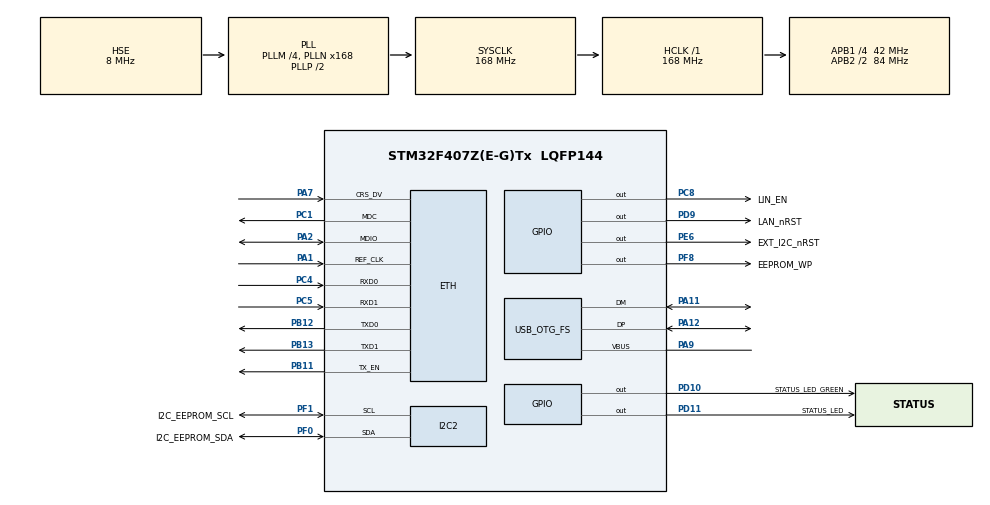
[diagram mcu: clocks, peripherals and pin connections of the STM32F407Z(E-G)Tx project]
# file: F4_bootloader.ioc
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ETH.MACAddr=00\:80\:E1\:01\:23\:45
ETH.MediaInterface=HAL_ETH_RMII_MODE
FREERTOS.BinarySemaphores01=InitDoneSemaphore,Static,InitDoneSemaphoreControlBlock,Available
FREERTOS.INCLUDE_eTaskGetState=1
FREERTOS.INCLUDE_pcTaskGetTaskName=1
FREERTOS.INCLUDE_uxTaskGetStackHighWaterMark=1
FREERTOS.INCLUDE_uxTaskGetStackHighWaterMark2=1
FREERTOS.INCLUDE_vTaskCleanUpResources=1
FREERTOS.INCLUDE_vTaskDelayUntil=1
FREERTOS.INCLUDE_xQueueGetMutexHolder=1
FREERTOS.INCLUDE_xSemaphoreGetMutexHolder=1
FREERTOS.INCLUDE_xTaskAbortDelay=1
FREERTOS.INCLUDE_xTaskGetCurrentTaskHandle=1
FREERTOS.INCLUDE_xTaskGetHandle=1
FREERTOS.MEMORY_ALLOCATION=2
FREERTOS.Tasks01=defaultTask,0,256,StartDefaultTask,Default,NULL,Static,defaultTaskBuffer,defaultTaskControlBlock;blinkTask,-1,128,blinkTaskEntry,Default,NULL,Static,blinkTaskBuffer,blinkTaskControlBlock;watchdogTask,-1,128,watchDogReset,Default,NULL,Static,watchdogTaskBuffer,watchdogTaskControlBlock;TcpServerTask,0,256,TcpServerTaskStart,Default,NULL,Static,TcpServerTaskBuffer,TcpServerTaskControlBlock;UsbTask,0,256,UsbTaskStart,Default,NULL,Static,UsbTaskBuffer,UsbTaskControlBlock;CommParserTask,0,700,CommParserTaskStart,Default,NULL,Static,CommParserTaskBuffer,CommParserTaskControlBlock
FREERTOS.configENABLE_FPU=1
FREERTOS.configMINIMAL_STACK_SIZE=128
FREERTOS.configTOTAL_HEAP_SIZE=12000
FREERTOS.configUSE_NEWLIB_REENTRANT=1
IWDG.Prescaler=IWDG_PRESCALER_128
IWDG.Reload=2500
LWIP.BSP.number=1
LWIP.CMSIS_VERSION-Enabled=1
LWIP.GATEWAY_ADDRESS=192.168.000.001
LWIP.IP_ADDRESS=192.168.000.035
LWIP.LWIP_DHCP=0
LWIP.NETMASK_ADDRESS=255.255.255.000
LWIP.Version=v2.1.2_Cube
LWIP0.BSP.STBoard=false
LWIP0.BSP.api=BSP_COMPONENT_DRIVER
LWIP0.BSP.component=DP83848
LWIP0.BSP.instance=DP83848
LWIP0.BSP.name=Driver_PHY
LWIP0.BSP.semaphore=S_DP83848
LWIP0.BSP.solution=DP83848
Mcu.Family=STM32F4
Mcu.Name=STM32F407Z(E-G)Tx
Mcu.Package=LQFP144
NVIC.ETH_IRQn=true\:5\:0\:false\:false\:true\:true\:true\:true\:true
NVIC.OTG_FS_IRQn=true\:5\:0\:false\:false\:true\:true\:false\:true\:true
NVIC.PriorityGroup=NVIC_PRIORITYGROUP_4
NVIC.TIM1_TRG_COM_TIM11_IRQn=true\:5\:0\:false\:false\:true\:true\:true\:true\:true
NVIC.TIM7_IRQn=true\:5\:0\:false\:false\:true\:true\:true\:true\:true
NVIC.TIM8_TRG_COM_TIM14_IRQn=true\:15\:0\:false\:false\:true\:false\:false\:true\:true
NVIC.TimeBase=TIM8_TRG_COM_TIM14_IRQn
NVIC.TimeBaseIP=TIM14
PA1.Mode=RMII
PA1.Signal=ETH_REF_CLK
PA11.Mode=Device_Only
PA11.Signal=USB_OTG_FS_DM
PA12.Mode=Device_Only
PA12.Signal=USB_OTG_FS_DP
PA13.Mode=Trace_Asynchronous_SW
PA13.Signal=SYS_JTMS-SWDIO
PA14.Mode=Trace_Asynchronous_SW
PA14.Signal=SYS_JTCK-SWCLK
PA2.Mode=RMII
PA2.Signal=ETH_MDIO
PA7.Mode=RMII
PA7.Signal=ETH_CRS_DV
PA9.Mode=Activate_VBUS
PA9.Signal=USB_OTG_FS_VBUS
PB11.Mode=RMII
PB11.Signal=ETH_TX_EN
PB12.Mode=RMII
PB12.Signal=ETH_TXD0
PB13.Mode=RMII
PB13.Signal=ETH_TXD1
PB3.Mode=Trace_Asynchronous_SW
PB3.Signal=SYS_JTDO-SWO
PC1.Mode=RMII
PC1.Signal=ETH_MDC
PC4.Mode=RMII
PC4.Signal=ETH_RXD0
PC5.Mode=RMII
PC5.Signal=ETH_RXD1
PC8.GPIO_Label=LIN_EN
PC8.Signal=GPIO_Output
PD10.GPIO_Label=STATUS_LED_GREEN
PD10.Signal=GPIO_Output
PD11.GPIO_Label=STATUS_LED
PD11.Signal=GPIO_Output
PD9.GPIO_Label=LAN_nRST
PD9.Signal=GPIO_Output
PE6.GPIO_Label=EXT_I2C_nRST
PE6.Signal=GPIO_Output
PF0.GPIO_Label=I2C_EEPROM_SDA
PF0.GPIO_Pu=GPIO_PULLUP
PF0.Mode=I2C
PF0.Signal=I2C2_SDA
PF1.GPIO_Label=I2C_EEPROM_SCL
PF1.GPIO_Pu=GPIO_PULLUP
PF1.Mode=I2C
PF1.Signal=I2C2_SCL
PF8.GPIO_Label=EEPROM_WP
PF8.Signal=GPIO_Output
PH0-OSC_IN.Mode=HSE-External-Oscillator
PH0-OSC_IN.Signal=RCC_OSC_IN
PH1-OSC_OUT.Mode=HSE-External-Oscillator
PH1-OSC_OUT.Signal=RCC_OSC_OUT
ProjectManager.HeapSize=0x600
ProjectManager.StackSize=0x800
ProjectManager.TargetToolchain=CMake
RCC.48MHZClocksFreq_Value=48000000
RCC.AHBFreq_Value=168000000
RCC.APB1CLKDivider=RCC_HCLK_DIV4
RCC.APB1Freq_Value=42000000
RCC.APB1TimFreq_Value=84000000
RCC.APB2CLKDivider=RCC_HCLK_DIV2
RCC.APB2Freq_Value=84000000
RCC.APB2TimFreq_Value=168000000
RCC.CortexFreq_Value=168000000
RCC.HCLKFreq_Value=168000000
RCC.HSE_VALUE=8000000
RCC.HSI_VALUE=16000000
RCC.LSE_VALUE=32768
RCC.PLLM=4
RCC.PLLN=168
RCC.PLLQ=7
RCC.RCC_RTC_Clock_Source=RCC_RTCCLKSOURCE_LSE
RCC.RCC_RTC_Clock_SourceVirtual=RCC_RTCCLKSOURCE_LSE
RCC.RCC_RTC_Clock_Source_FROM_HSE=RCC_RTCCLKSOURCE_HSE_DIV9
RCC.SYSCLKFreq_VALUE=168000000
RCC.SYSCLKSource=RCC_SYSCLKSOURCE_PLLCLK
RCC.VCOOutputFreq_Value=336000000
TIM11.AutoReloadPreload=TIM_AUTORELOAD_PRELOAD_ENABLE
TIM11.Period=420-1
TIM7.AutoReloadPreload=TIM_AUTORELOAD_PRELOAD_ENABLE
TIM7.Period=168-1
USB_DEVICE.CLASS_NAME_FS=CDC
USB_DEVICE.MANUFACTURER_STRING-CDC_FS=RAFIONTECH s.r.o.
USB_DEVICE.PRODUCT_STRING_CDC_FS=RAFION E000010 BOOTLOADER
USB_DEVICE.VirtualMode-CDC_FS=Cdc
USB_DEVICE.VirtualModeFS=Cdc_FS
USB_OTG_FS.VirtualMode=Device_Only
VP_CRC_VS_CRC.Mode=CRC_Activate
VP_FREERTOS_VS_CMSIS_V1.Mode=CMSIS_V1
VP_IWDG_VS_IWDG.Mode=IWDG_Activate
VP_LWIP_VS_Enabled.Mode=Enabled
VP_SYS_VS_tim14.Mode=TIM14
VP_TIM11_VS_ClockSourceINT.Mode=Enable_Timer
VP_TIM7_VS_ClockSourceINT.Mode=Enable_Timer
VP_USB_DEVICE_VS_USB_DEVICE_CDC_FS.Mode=CDC_FS
board=custom

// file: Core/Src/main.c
/* USER CODE BEGIN Header */
/**
  ******************************************************************************
  * @file           : main.c
  * @brief          : Main program body
  ******************************************************************************
  * @attention
  *
  * Copyright (c) 2023 STMicroelectronics.
  * All rights reserved.
  *
  * This software is licensed under terms that can be found in the LICENSE file
  * in the root directory of this software component.
  * If no LICENSE file comes with this software, it is provided AS-IS.
  *
  ******************************************************************************
  */
/* USER CODE END Header */
#include "main.h"
#include "cmsis_os.h"
#include "lwip.h"
#include "usb_device.h"

/* USER CODE BEGIN Includes */
#include "usbd_cdc_if.h"
#include "stdio.h"
#include "task.h"
#include "semphr.h"
#include "tcpserver.h"
#include "globals.h"
#include "UsbMessageHanler.h"
#include "commandParser.h"
#include "lfs.h"
/* USER CODE END Includes */

/* USER CODE BEGIN PM */
HAL_StatusTypeDef status;
uint32_t Reg_Val;
/* USER CODE END PM */

CRC_HandleTypeDef hcrc;

I2C_HandleTypeDef hi2c2;

IWDG_HandleTypeDef hiwdg;

TIM_HandleTypeDef htim7;
TIM_HandleTypeDef htim11;

osThreadId defaultTaskHandle;
uint32_t defaultTaskBuffer[ 256 ];
osStaticThreadDef_t defaultTaskControlBlock;
osThreadId blinkTaskHandle;
uint32_t blinkTaskBuffer[ 128 ];
osStaticThreadDef_t blinkTaskControlBlock;
osThreadId watchdogTaskHandle;
uint32_t watchdogTaskBuffer[ 128 ];
osStaticThreadDef_t watchdogTaskControlBlock;
osThreadId TcpServerTaskHandle;
uint32_t TcpServerTaskBuffer[ 256 ];
osStaticThreadDef_t TcpServerTaskControlBlock;
osThreadId UsbTaskHandle;
uint32_t UsbTaskBuffer[ 256 ];
osStaticThreadDef_t UsbTaskControlBlock;
osThreadId CommParserTaskHandle;
uint32_t CommParserTaskBuffer[ 700 ];
osStaticThreadDef_t CommParserTaskControlBlock;
osSemaphoreId InitDoneSemaphoreHandle;
osStaticSemaphoreDef_t InitDoneSemaphoreControlBlock;
/* USER CODE BEGIN PV */
osMutexId take_measurement_mutex;
osMutexId isBusyWithSendingResponse_mutex;
/* USER CODE END PV */

void SystemClock_Config(void);
static void MX_GPIO_Init(void);
static void MX_I2C2_Init(void);
static void MX_TIM11_Init(void);
static void MX_IWDG_Init(void);
static void MX_TIM7_Init(void);
static void MX_CRC_Init(void);
void StartDefaultTask(void const * argument);
void blinkTaskEntry(void const * argument);
void watchDogReset(void const * argument);
void TcpServerTaskStart(void const * argument);
void UsbTaskStart(void const * argument);
void CommParserTaskStart(void const * argument);

/* USER CODE BEGIN PFP */
//Redriect printf to USB CDC
int _write(int file, char *ptr, int len)
{
  CDC_Transmit_FS((uint8_t*)ptr, len);
  return len;
}

/* USER CODE END PFP */

/* USER CODE BEGIN 0 */
volatile const char *g_fault_reason = NULL;
volatile const char *g_fault_task_name = NULL;
volatile uint32_t g_fault_stack_r0 = 0;
volatile uint32_t g_fault_stack_r1 = 0;
volatile uint32_t g_fault_stack_r2 = 0;
volatile uint32_t g_fault_stack_r3 = 0;
volatile uint32_t g_fault_stack_r12 = 0;
volatile uint32_t g_fault_stack_lr = 0;
volatile uint32_t g_fault_stack_pc = 0;
volatile uint32_t g_fault_stack_psr = 0;
volatile uint32_t g_fault_sp = 0;
volatile uint32_t g_fault_exc_return = 0;
volatile uint32_t g_fault_cfsr = 0;
volatile uint32_t g_fault_hfsr = 0;
volatile uint32_t g_fault_dfsr = 0;
volatile uint32_t g_fault_afsr = 0;
volatile uint32_t g_fault_bfar = 0;
volatile uint32_t g_fault_mmfar = 0;

static void DebugTrap(const char *reason, const char *task_name)
{
  g_fault_reason = reason;
  g_fault_task_name = task_name;
  __disable_irq();
  __BKPT(0);
  while (1)
  {
  }
}

/* USER CODE END 0 */

int main(void)
{

  /* MCU Configuration--------------------------------------------------------*/

  /* Reset of all peripherals, Initializes the Flash interface and the Systick. */
  HAL_Init();

  /* USER CODE BEGIN Init */
  __enable_irq();

  SCB->SHCSR |= SCB_SHCSR_MEMFAULTENA_Msk |
                SCB_SHCSR_BUSFAULTENA_Msk |
                SCB_SHCSR_USGFAULTENA_Msk;
  SCB->CCR |= SCB_CCR_DIV_0_TRP_Msk;

  /* USER CODE END Init */

  /* Configure the system clock */
  SystemClock_Config();

  /* Initialize all configured peripherals */
  MX_GPIO_Init();
  MX_I2C2_Init();
  MX_TIM11_Init();
  MX_IWDG_Init();
  MX_TIM7_Init();
  MX_CRC_Init();
  /* USER CODE BEGIN 2 */
  HAL_GPIO_WritePin(STATUS_LED_GREEN_GPIO_Port,STATUS_LED_GREEN_Pin, GPIO_PIN_SET);
  HAL_TIM_Base_Start_IT(&htim11);
  HAL_TIM_Base_Start_IT(&htim7);
  HAL_GPIO_WritePin(LAN_nRST_GPIO_Port,LAN_nRST_Pin, GPIO_PIN_SET);
  HAL_Delay(100);

  /* USER CODE END 2 */

  /* USER CODE BEGIN RTOS_MUTEX */
  /* add mutexes, ... */
  commandTemplateMutex = xSemaphoreCreateMutex();
  if (commandTemplateMutex == NULL)
  {
    Error_Handler();
  }

  /* USER CODE END RTOS_MUTEX */

  /* Create the semaphores(s) */
  /* definition and creation of InitDoneSemaphore */
  osSemaphoreStaticDef(InitDoneSemaphore, &InitDoneSemaphoreControlBlock);
  InitDoneSemaphoreHandle = osSemaphoreCreate(osSemaphore(InitDoneSemaphore), 1);

  /* USER CODE BEGIN RTOS_SEMAPHORES */
  osMutexDef(take_measurement_mutex);
  take_measurement_mutex = osMutexCreate(osMutex(take_measurement_mutex));

  osMutexDef(isBusyWithSendingResponse_mutex);
  isBusyWithSendingResponse_mutex = osMutexCreate(osMutex(isBusyWithSendingResponse_mutex));
  /* add semaphores, ... */
  /* USER CODE END RTOS_SEMAPHORES */

  /* USER CODE BEGIN RTOS_QUEUES */
  /* add queues, ... */
  init_command_queue();
  if (commandQueueHandle == NULL)
  {
    Error_Handler();
  }
  /* USER CODE END RTOS_QUEUES */

  /* Create the thread(s) */
  /* definition and creation of defaultTask */
  osThreadStaticDef(defaultTask, StartDefaultTask, osPriorityNormal, 0, 256, defaultTaskBuffer, &defaultTaskControlBlock);
  defaultTaskHandle = osThreadCreate(osThread(defaultTask), NULL);

  /* definition and creation of blinkTask */
  osThreadStaticDef(blinkTask, blinkTaskEntry, osPriorityBelowNormal, 0, 128, blinkTaskBuffer, &blinkTaskControlBlock);
  blinkTaskHandle = osThreadCreate(osThread(blinkTask), NULL);

  /* definition and creation of watchdogTask */
  osThreadStaticDef(watchdogTask, watchDogReset, osPriorityBelowNormal, 0, 128, watchdogTaskBuffer, &watchdogTaskControlBlock);
  watchdogTaskHandle = osThreadCreate(osThread(watchdogTask), NULL);

  /* definition and creation of TcpServerTask */
  osThreadStaticDef(TcpServerTask, TcpServerTaskStart, osPriorityNormal, 0, 256, TcpServerTaskBuffer, &TcpServerTaskControlBlock);
  TcpServerTaskHandle = osThreadCreate(osThread(TcpServerTask), NULL);

  /* definition and creation of UsbTask */
  osThreadStaticDef(UsbTask, UsbTaskStart, osPriorityNormal, 0, 256, UsbTaskBuffer, &UsbTaskControlBlock);
  UsbTaskHandle = osThreadCreate(osThread(UsbTask), NULL);

  /* definition and creation of CommParserTask */
  osThreadStaticDef(CommParserTask, CommParserTaskStart, osPriorityNormal, 0, 700, CommParserTaskBuffer, &CommParserTaskControlBlock);
  CommParserTaskHandle = osThreadCreate(osThread(CommParserTask), NULL);

  /* Start scheduler */
  osKernelStart();

  /* We should never get here as control is now taken by the scheduler */

  /* Infinite loop */
  while (1)
  {

  }
}

void SystemClock_Config(void)
{
  RCC_OscInitTypeDef RCC_OscInitStruct = {0};
  RCC_ClkInitTypeDef RCC_ClkInitStruct = {0};

  /** Configure the main internal regulator output voltage
  */
  __HAL_RCC_PWR_CLK_ENABLE();
  __HAL_PWR_VOLTAGESCALING_CONFIG(PWR_REGULATOR_VOLTAGE_SCALE1);

  /** Initializes the RCC Oscillators according to the specified parameters
  * in the RCC_OscInitTypeDef structure.
  */
  RCC_OscInitStruct.OscillatorType = RCC_OSCILLATORTYPE_LSI|RCC_OSCILLATORTYPE_HSE;
  RCC_OscInitStruct.HSEState = RCC_HSE_ON;
  RCC_OscInitStruct.LSIState = RCC_LSI_ON;
  RCC_OscInitStruct.PLL.PLLState = RCC_PLL_ON;
  RCC_OscInitStruct.PLL.PLLSource = RCC_PLLSOURCE_HSE;
  RCC_OscInitStruct.PLL.PLLM = 4;
  RCC_OscInitStruct.PLL.PLLN = 168;
  RCC_OscInitStruct.PLL.PLLP = RCC_PLLP_DIV2;
  RCC_OscInitStruct.PLL.PLLQ = 7;
  if (HAL_RCC_OscConfig(&RCC_OscInitStruct) != HAL_OK)
  {
    Error_Handler();
  }

  /** Initializes the CPU, AHB and APB buses clocks
  */
  RCC_ClkInitStruct.ClockType = RCC_CLOCKTYPE_HCLK|RCC_CLOCKTYPE_SYSCLK
                              |RCC_CLOCKTYPE_PCLK1|RCC_CLOCKTYPE_PCLK2;
  RCC_ClkInitStruct.SYSCLKSource = RCC_SYSCLKSOURCE_PLLCLK;
  RCC_ClkInitStruct.AHBCLKDivider = RCC_SYSCLK_DIV1;
  RCC_ClkInitStruct.APB1CLKDivider = RCC_HCLK_DIV4;
  RCC_ClkInitStruct.APB2CLKDivider = RCC_HCLK_DIV2;

  if (HAL_RCC_ClockConfig(&RCC_ClkInitStruct, FLASH_LATENCY_5) != HAL_OK)
  {
    Error_Handler();
  }
}

static void MX_CRC_Init(void)
{

  hcrc.Instance = CRC;
  if (HAL_CRC_Init(&hcrc) != HAL_OK)
  {
    Error_Handler();
  }

}

static void MX_I2C2_Init(void)
{

  hi2c2.Instance = I2C2;
  hi2c2.Init.ClockSpeed = 100000;
  hi2c2.Init.DutyCycle = I2C_DUTYCYCLE_2;
  hi2c2.Init.OwnAddress1 = 0;
  hi2c2.Init.AddressingMode = I2C_ADDRESSINGMODE_7BIT;
  hi2c2.Init.DualAddressMode = I2C_DUALADDRESS_DISABLE;
  hi2c2.Init.OwnAddress2 = 0;
  hi2c2.Init.GeneralCallMode = I2C_GENERALCALL_DISABLE;
  hi2c2.Init.NoStretchMode = I2C_NOSTRETCH_DISABLE;
  if (HAL_I2C_Init(&hi2c2) != HAL_OK)
  {
    Error_Handler();
  }

}

static void MX_IWDG_Init(void)
{

  hiwdg.Instance = IWDG;
  hiwdg.Init.Prescaler = IWDG_PRESCALER_128;
  hiwdg.Init.Reload = 2500;
  if (HAL_IWDG_Init(&hiwdg) != HAL_OK)
  {
    Error_Handler();
  }

}

static void MX_TIM7_Init(void)
{

  TIM_MasterConfigTypeDef sMasterConfig = {0};

  htim7.Instance = TIM7;
  htim7.Init.Prescaler = 0;
  htim7.Init.CounterMode = TIM_COUNTERMODE_UP;
  htim7.Init.Period = 168-1;
  htim7.Init.AutoReloadPreload = TIM_AUTORELOAD_PRELOAD_ENABLE;
  if (HAL_TIM_Base_Init(&htim7) != HAL_OK)
  {
    Error_Handler();
  }
  sMasterConfig.MasterOutputTrigger = TIM_TRGO_RESET;
  sMasterConfig.MasterSlaveMode = TIM_MASTERSLAVEMODE_DISABLE;
  if (HAL_TIMEx_MasterConfigSynchronization(&htim7, &sMasterConfig) != HAL_OK)
  {
    Error_Handler();
  }

}

static void MX_TIM11_Init(void)
{

  htim11.Instance = TIM11;
  htim11.Init.Prescaler = 0;
  htim11.Init.CounterMode = TIM_COUNTERMODE_UP;
  htim11.Init.Period = 420-1;
  htim11.Init.ClockDivision = TIM_CLOCKDIVISION_DIV1;
  htim11.Init.AutoReloadPreload = TIM_AUTORELOAD_PRELOAD_ENABLE;
  if (HAL_TIM_Base_Init(&htim11) != HAL_OK)
  {
    Error_Handler();
  }

}

static void MX_GPIO_Init(void)
{
  GPIO_InitTypeDef GPIO_InitStruct = {0};

  /* GPIO Ports Clock Enable */
  __HAL_RCC_GPIOE_CLK_ENABLE();
  __HAL_RCC_GPIOF_CLK_ENABLE();
  __HAL_RCC_GPIOH_CLK_ENABLE();
  __HAL_RCC_GPIOC_CLK_ENABLE();
  __HAL_RCC_GPIOA_CLK_ENABLE();
  __HAL_RCC_GPIOB_CLK_ENABLE();
  __HAL_RCC_GPIOD_CLK_ENABLE();

  /*Configure GPIO pin Output Level */
  HAL_GPIO_WritePin(EXT_I2C_nRST_GPIO_Port, EXT_I2C_nRST_Pin, GPIO_PIN_RESET);

  /*Configure GPIO pin Output Level */
  HAL_GPIO_WritePin(EEPROM_WP_GPIO_Port, EEPROM_WP_Pin, GPIO_PIN_RESET);

  /*Configure GPIO pin Output Level */
  HAL_GPIO_WritePin(GPIOD, LAN_nRST_Pin|STATUS_LED_GREEN_Pin|STATUS_LED_Pin, GPIO_PIN_RESET);

  /*Configure GPIO pin Output Level */
  HAL_GPIO_WritePin(LIN_EN_GPIO_Port, LIN_EN_Pin, GPIO_PIN_RESET);

  /*Configure GPIO pin : EXT_I2C_nRST_Pin */
  GPIO_InitStruct.Pin = EXT_I2C_nRST_Pin;
  GPIO_InitStruct.Mode = GPIO_MODE_OUTPUT_PP;
  GPIO_InitStruct.Pull = GPIO_NOPULL;
  GPIO_InitStruct.Speed = GPIO_SPEED_FREQ_LOW;
  HAL_GPIO_Init(EXT_I2C_nRST_GPIO_Port, &GPIO_InitStruct);

  /*Configure GPIO pin : EEPROM_WP_Pin */
  GPIO_InitStruct.Pin = EEPROM_WP_Pin;
  GPIO_InitStruct.Mode = GPIO_MODE_OUTPUT_PP;
  GPIO_InitStruct.Pull = GPIO_NOPULL;
  GPIO_InitStruct.Speed = GPIO_SPEED_FREQ_LOW;
  HAL_GPIO_Init(EEPROM_WP_GPIO_Port, &GPIO_InitStruct);

  /*Configure GPIO pins : LAN_nRST_Pin STATUS_LED_GREEN_Pin STATUS_LED_Pin */
  GPIO_InitStruct.Pin = LAN_nRST_Pin|STATUS_LED_GREEN_Pin|STATUS_LED_Pin;
  GPIO_InitStruct.Mode = GPIO_MODE_OUTPUT_PP;
  GPIO_InitStruct.Pull = GPIO_NOPULL;
  GPIO_InitStruct.Speed = GPIO_SPEED_FREQ_LOW;
  HAL_GPIO_Init(GPIOD, &GPIO_InitStruct);

  /*Configure GPIO pin : LIN_EN_Pin */
  GPIO_InitStruct.Pin = LIN_EN_Pin;
  GPIO_InitStruct.Mode = GPIO_MODE_OUTPUT_PP;
  GPIO_InitStruct.Pull = GPIO_NOPULL;
  GPIO_InitStruct.Speed = GPIO_SPEED_FREQ_LOW;
  HAL_GPIO_Init(LIN_EN_GPIO_Port, &GPIO_InitStruct);

}

/* USER CODE BEGIN 4 */

void vApplicationStackOverflowHook(TaskHandle_t xTask, char *pcTaskName)
{
  (void)xTask;
  DebugTrap("FreeRTOS stack overflow", pcTaskName);
}

void vApplicationMallocFailedHook(void)
{
  DebugTrap("FreeRTOS malloc failed", pcTaskGetName(NULL));
}

/* USER CODE END 4 */

void StartDefaultTask(void const * argument)
{
  /* init code for USB_DEVICE */
  MX_USB_DEVICE_Init();

  /* init code for LWIP */
  MX_LWIP_Init();
  /* USER CODE BEGIN 5 */
  HAL_Delay(1000);
  xSemaphoreGive(InitDoneSemaphoreHandle);

  //Try to do it using bit banging method

  for(;;)
  {
    osDelay(1);
  }
  /* USER CODE END 5 */
}

void blinkTaskEntry(void const * argument)
{
  /* USER CODE BEGIN blinkTaskEntry */
  if (xSemaphoreTake(InitDoneSemaphoreHandle, portMAX_DELAY) != pdTRUE)
  {
    Error_Handler();
  }

  //return it
  xSemaphoreGive(InitDoneSemaphoreHandle);

  /* Infinite loop */
  HAL_GPIO_WritePin(STATUS_LED_GREEN_GPIO_Port, STATUS_LED_Pin, GPIO_PIN_SET);
  for(;;)
  {
    HAL_GPIO_TogglePin(STATUS_LED_GREEN_GPIO_Port, STATUS_LED_GREEN_Pin);
    osDelay(500);
  }
  /* USER CODE END blinkTaskEntry */
}

void watchDogReset(void const * argument)
{
  /* USER CODE BEGIN watchDogReset */
  /* Infinite loop */
  for(;;)
  {
    HAL_IWDG_Refresh(&hiwdg);
    osDelay(50);
  }
  /* USER CODE END watchDogReset */
}

void TcpServerTaskStart(void const * argument)
{
  /* USER CODE BEGIN TcpServerTaskStart */
    if (xSemaphoreTake(InitDoneSemaphoreHandle, portMAX_DELAY) != pdTRUE)
    {
      Error_Handler();
    }

    //return it
    xSemaphoreGive(InitDoneSemaphoreHandle);

    tcp_thread(NULL);
  /* USER CODE END TcpServerTaskStart */
}

void UsbTaskStart(void const * argument)
{
  /* USER CODE BEGIN UsbTaskStart */
  if (xSemaphoreTake(InitDoneSemaphoreHandle, portMAX_DELAY) != pdTRUE)
  {
    Error_Handler();
  }

  //return it
  xSemaphoreGive(InitDoneSemaphoreHandle);
  /* Infinite loop */
  for(;;)
  {
    parse_usb_message();
    osDelay(1);
  }
  /* USER CODE END UsbTaskStart */
}

void CommParserTaskStart(void const * argument)
{
  /* USER CODE BEGIN CommParserTaskStart */
  /* Infinite loop */
  for(;;)
  {

    //Read message queue and handle only valid dequeued commands.
    commandTemplate current_command;

    if(xQueueReceive(commandQueueHandle, &current_command, 0) == pdPASS){
      runCommand(&current_command);

      //print back response based on command sender
      if (current_command.source == USB_HANDLER) {
        printf("%s", current_command.response);
      }

      else if (current_command.source == RS232_HANDLER) {
        //send response via RS232
      }

      else if (current_command.source == TCP_THREAD) {
        //send response via TCP
        size_t total_len = strlen(current_command.response);
        size_t bytes_written = 0;

        while (bytes_written < total_len)
        {
          size_t chunk_written = 0;
          err_t write_err = netconn_write_partly(current_command.TCP_client_netconn,
                                                  current_command.response + bytes_written,
                                                  total_len - bytes_written,
                                                  NETCONN_COPY,
                                                  &chunk_written);

          bytes_written += chunk_written;

          if (write_err == ERR_OK)
          {
            continue;
          }

          if (write_err == ERR_WOULDBLOCK && chunk_written == 0)
          {
            osDelay(1);
            continue;
        }

          break;
        }

      }
    }
    osDelay(1);
  }
  /* USER CODE END CommParserTaskStart */
}

void HAL_TIM_PeriodElapsedCallback(TIM_HandleTypeDef *htim)
{
  /* USER CODE BEGIN Callback 0 */
  if (htim->Instance == TIM11) {
    _us_tick++;
  }

  if (htim->Instance == TIM7) {
    TIM_7_tick_1_us++;
  }

  /* USER CODE END Callback 0 */
  if (htim->Instance == TIM14)
  {
    HAL_IncTick();
  }
}

void Error_Handler(void)
{
  __disable_irq();
  while (1)
  {
  }
}
